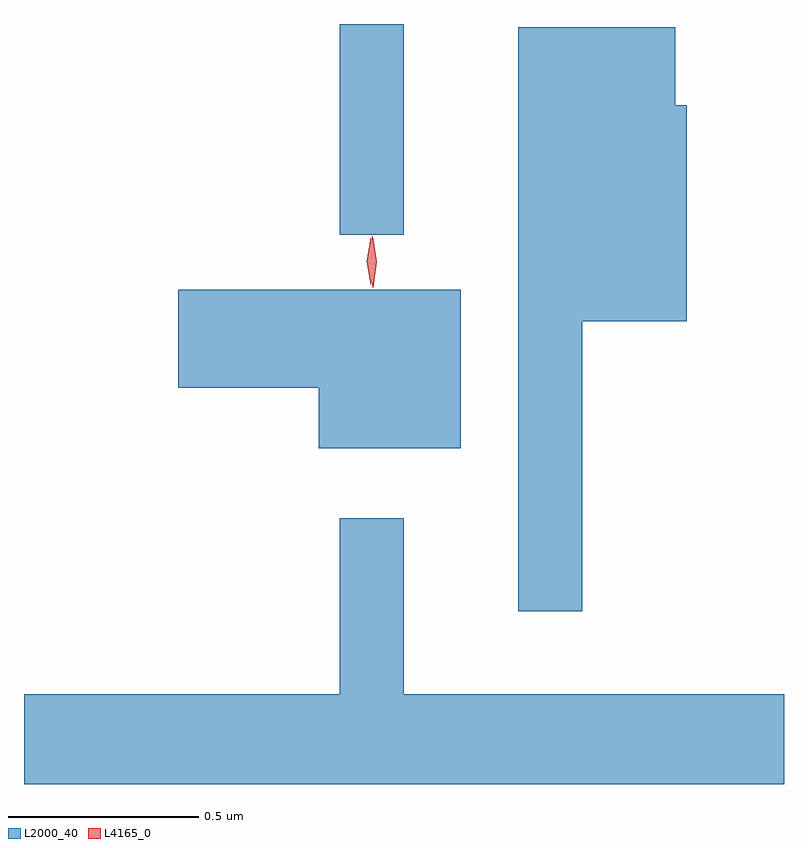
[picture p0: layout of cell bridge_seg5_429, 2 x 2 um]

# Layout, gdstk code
import gdstk
lib = gdstk.Library(unit=1e-6, precision=1e-09)
def R(c, l, rs):  # rectangles x0, y0, x1, y1
    for r in rs: c.add(gdstk.rectangle(r[:2], r[2:], *l))
def P(c, l, *ps):  # polygons
    for p in ps: c.add(gdstk.Polygon(p, *l))
L2000_40 = (2000, 40)
L4165_0 = (4165, 0)

bridge_seg5_429 = lib.new_cell('bridge_seg5_429')
R(bridge_seg5_429, L2000_40, [(422.921,1496.013,423.089,1496.568)])
P(bridge_seg5_429, L2000_40, [(423.559,1495.786),(423.834,1495.786),(423.834,1496.354),(423.804,1496.354),(423.804,1496.559),(423.391,1496.559),(423.391,1495.023),(423.559,1495.023)],
  [(423.239,1495.869),(422.496,1495.869),(422.496,1495.611),(422.866,1495.611),(422.866,1495.451),(423.239,1495.451)],
  [(424.09,1494.804),(423.089,1494.804),(423.089,1495.268),(422.921,1495.268),(422.921,1494.804),(422.09,1494.804),(422.09,1494.568),(424.09,1494.568)])
P(bridge_seg5_429, L4165_0, [(423.008,1495.874),(423.008,1495.874),(422.998,1495.942),(423.007,1496.01),(423.008,1496.01),(423.008,1496.01),(423.018,1495.942),(423.009,1495.874)],
  [(423.002,1495.88),(423.002,1495.88),(422.992,1495.944),(423.002,1496.006),(423.002,1496.007),(423.003,1496.006),(423.012,1495.944),(423.003,1495.88)])

lib.write_gds('bridge_seg5_429.gds')
